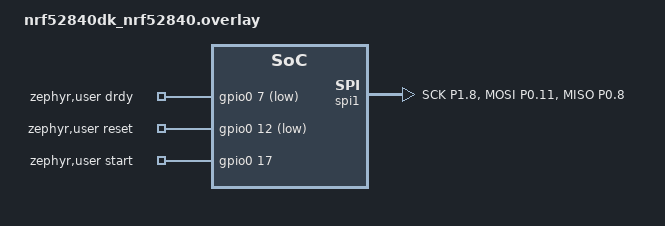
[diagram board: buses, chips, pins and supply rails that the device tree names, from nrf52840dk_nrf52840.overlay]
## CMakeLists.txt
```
#
# Copyright (c) 2018 Nordic Semiconductor
#
# SPDX-License-Identifier: LicenseRef-Nordic-5-Clause
#
cmake_minimum_required(VERSION 3.20.0)

find_package(Zephyr REQUIRED HINTS $ENV{ZEPHYR_BASE})
project(BLE_EEG)

target_sources(app PRIVATE
  src/main.c
  src/ble.c
  src/ads1299.c
)

# NORDIC SDK APP END
```

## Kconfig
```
#
# Copyright (c) 2018 Nordic Semiconductor
#
# SPDX-License-Identifier: LicenseRef-Nordic-5-Clause
#

source "Kconfig.zephyr"

menu "Nordic BLE EEG Service"

config BT_LBS_SECURITY_ENABLED
	bool "Enable security"
	default y
	select BT_SMP
	select BT_SETTINGS
	select FLASH
	select FLASH_PAGE_LAYOUT
	select FLASH_MAP
	select ZMS if (SOC_FLASH_NRF_RRAM || SOC_FLASH_NRF_MRAM)
	select NVS if !(SOC_FLASH_NRF_RRAM || SOC_FLASH_NRF_MRAM)
	select SETTINGS
	help
	  "Enable BLE security for the LED-Button service"

endmenu
```

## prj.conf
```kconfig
# BLE CORE
CONFIG_BT=y
CONFIG_BT_PERIPHERAL=y
CONFIG_BT_DEVICE_NAME="Soft NeuroKit"
CONFIG_BT_MAX_CONN=1

# SETTINGS
CONFIG_BT_SETTINGS=y
CONFIG_SETTINGS=y

# GPIO
CONFIG_GPIO=y

# SPI
CONFIG_SPI=y
CONFIG_NRFX_SPIM=y

# STACK SIZES
CONFIG_MAIN_STACK_SIZE=2048
CONFIG_SYSTEM_WORKQUEUE_STACK_SIZE=2048

# LOGGING
CONFIG_LOG=y
CONFIG_LOG_MODE_IMMEDIATE=y
CONFIG_LOG_DEFAULT_LEVEL=3
CONFIG_LOG_BACKEND_UART=y
CONFIG_PRINTK=y

# Stack size for the main thread, which will be used for the application logic.
CONFIG_MAIN_STACK_SIZE=16384
```

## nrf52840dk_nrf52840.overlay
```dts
#include <zephyr/dt-bindings/pinctrl/nrf-pinctrl.h>
#include <zephyr/dt-bindings/gpio/gpio.h>

/ {
    zephyr,user {
        /*
         * ADS1299 control/status pins.
         *
         * DRDY is active-low from ADS1299.
         * RESET is active-low.
         * START is active-high.
         *
         * Current working wiring:
         *   ADS J3-15 SPI_DRDY  -> nRF P0.07
         *   ADS J3-8  /RESET    -> nRF P0.12
         *   ADS J3-14 SPI_START -> nRF P0.17 or your clean START GPIO
         *
         * IMPORTANT:
         * Use the nRF pin that actually gave START raw=0/1 control.
         * If you used P0.17 successfully, keep P0.17 here.
         */
        drdy-gpios  = <&gpio0 7 GPIO_ACTIVE_LOW>;
        reset-gpios = <&gpio0 12 GPIO_ACTIVE_LOW>;
        start-gpios = <&gpio0 17 GPIO_ACTIVE_HIGH>;
    };
};

&pinctrl {
    spi1_default: spi1_default {
        group1 {
            /*
             * ADS1299 SPI wiring:
             *   ADS J3-3  SPI_CLK -> nRF P1.08 SCK
             *   ADS J3-11 SPI_IN  -> nRF P0.11 MOSI
             *   ADS J3-13 SPI_OUT -> nRF P0.08 MISO
             */
            psels = <
                NRF_PSEL(SPIM_SCK, 1, 8)
                NRF_PSEL(SPIM_MOSI, 0, 11)
                NRF_PSEL(SPIM_MISO, 0, 8)
            >;
        };
    };

    spi1_sleep: spi1_sleep {
        group1 {
            psels = <
                NRF_PSEL(SPIM_SCK, 1, 8)
                NRF_PSEL(SPIM_MOSI, 0, 11)
                NRF_PSEL(SPIM_MISO, 0, 8)
            >;
            low-power-enable;
        };
    };
};

&spi1 {
    compatible = "nordic,nrf-spim";
    status = "okay";

    pinctrl-0 = <&spi1_default>;
    pinctrl-1 = <&spi1_sleep>;
    pinctrl-names = "default", "sleep";

    /*
     * IMPORTANT:
     * On ADS1299 board, CS worked when connected to J3 pin 1.
     * This depends on JP21 routing.
     *
     *   ADS J3-1 SPI_CS -> nRF P1.09
     */
    cs-gpios = <&gpio1 9 GPIO_ACTIVE_LOW>;
};
```

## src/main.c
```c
#include <zephyr/kernel.h>
#include <zephyr/sys/printk.h>

#include <stdint.h>
#include <stddef.h>
#include <math.h>
#include <errno.h>

#include "ads1299.h"
#include "ble.h"

/*
 * ECG acquisition settings.
 */
#define ADS_SAMPLE_RATE_HZ       500
#define ADS_NOTCH_FREQ_HZ        60.0f

/*
 * Print every N samples.
 *
 * Printing every sample at 500 SPS can slow down BLE streaming.
 * Set to 1 for full debug output.
 * Set to 10 or 50 for smoother BLE streaming.
 */
#define PRINT_EVERY_N_SAMPLES    1

/*
 * ADS1299 voltage conversion:
 *
 * voltage = raw_count * VREF / (gain * (2^23 - 1))
 *
 * This ECG bring-up uses gain 6 because gain 24 saturated too easily.
 */
#define ADS_VREF_VOLTS           4.5f
#define ADS_CH3_GAIN             6.0f
#define ADS_24BIT_FULL_SCALE     8388607.0f

/*
 * CHxSET values.
 *
 * 0x00 = gain 6, normal electrode input
 * 0x01 = gain 6, input shorted
 * 0x60 = gain 24, normal electrode input
 * 0x61 = gain 24, input shorted
 * 0x81 = channel powered down, input shorted
 */
#define ADS_CH3_GAIN6_NORMAL_INPUT    0x00
#define ADS_CH_POWERDOWN_SHORTED      0x81

/*
 * ADS1299 frame:
 *
 * 3 status bytes + 8 channels * 3 bytes = 27 bytes
 *
 * CH3 is:
 *   frame[9], frame[10], frame[11]
 */
static uint8_t frame[27];

typedef struct {
    float b0;
    float b1;
    float b2;
    float a1;
    float a2;

    float x1;
    float x2;
    float y1;
    float y2;
} biquad_t;

static biquad_t notch60;

static int32_t sign_extend_24(uint8_t b0, uint8_t b1, uint8_t b2)
{
    int32_t value = ((int32_t)b0 << 16) |
                    ((int32_t)b1 << 8)  |
                    ((int32_t)b2);

    if (value & 0x800000) {
        value |= 0xFF000000;
    }

    return value;
}

static int32_t raw_to_microvolts_int(int32_t raw)
{
    float volts = ((float)raw * ADS_VREF_VOLTS) /
                  (ADS_CH3_GAIN * ADS_24BIT_FULL_SCALE);

    return (int32_t)(volts * 1000000.0f);
}

/*
 * 60 Hz notch filter.
 *
 * fs = 500 Hz
 * f0 = 60 Hz
 * Q = 30 gives a reasonably narrow notch.
 */
static void biquad_notch_init(biquad_t *filt, float fs_hz, float f0_hz, float q)
{
    float w0 = 2.0f * 3.14159265358979323846f * f0_hz / fs_hz;
    float c = cosf(w0);
    float s = sinf(w0);
    float alpha = s / (2.0f * q);

    float b0 = 1.0f;
    float b1 = -2.0f * c;
    float b2 = 1.0f;
    float a0 = 1.0f + alpha;
    float a1 = -2.0f * c;
    float a2 = 1.0f - alpha;

    filt->b0 = b0 / a0;
    filt->b1 = b1 / a0;
    filt->b2 = b2 / a0;
    filt->a1 = a1 / a0;
    filt->a2 = a2 / a0;

    filt->x1 = 0.0f;
    filt->x2 = 0.0f;
    filt->y1 = 0.0f;
    filt->y2 = 0.0f;
}

static int32_t biquad_process_int_uv(biquad_t *filt, int32_t x_int)
{
    float x = (float)x_int;

    float y = filt->b0 * x +
              filt->b1 * filt->x1 +
              filt->b2 * filt->x2 -
              filt->a1 * filt->y1 -
              filt->a2 * filt->y2;

    filt->x2 = filt->x1;
    filt->x1 = x;

    filt->y2 = filt->y1;
    filt->y1 = y;

    return (int32_t)y;
}

/*
 * DRDY is active-low.
 *
 * This tries to wait for a fresh DRDY falling edge.
 * If DRDY stays low on the eval board, the caller falls back to a 2 ms delay,
 * which approximates 500 SPS.
 */
static int wait_for_drdy_falling_edge(int timeout_ms)
{
    int elapsed_us = 0;
    int timeout_us = timeout_ms * 1000;

    /*
     * Wait for DRDY to go high first.
     */
    while (ads1299_get_drdy_raw() == 0) {
        k_usleep(100);
        elapsed_us += 100;

        if (elapsed_us >= timeout_us) {
            return -1;
        }
    }

    /*
     * Then wait for DRDY to go low.
     */
    while (ads1299_get_drdy_raw() == 1) {
        k_usleep(100);
        elapsed_us += 100;

        if (elapsed_us >= timeout_us) {
            return -2;
        }
    }

    return 0;
}

/*
 * Configure ADS1299 for CH3 ECG:
 *
 *   500 SPS
 *   CH3 only
 *   gain 6
 *   normal electrode input
 *   BIAS enabled from CH3P and CH3N
 *   lead-off disabled for bring-up
 *
 * Electrode setup:
 *   CH3P -> left wrist
 *   CH3N -> right wrist
 *   BIAS -> third electrode connected to BIAS on JP25 or GND?
 *
 */
static int configure_ads1299_ch3_ecg_500sps_bias(void)
{
    int err;
    uint8_t check = 0;

    err = ads1299_send_command(ADS_CMD_SDATAC);
    if (err) {
        printk("SDATAC failed: %d\n", err);
        return err;
    }

    k_msleep(5);

    /*
     * CONFIG1 = 0x95 sets 500 SPS.
     */
    err = ads1299_write_reg(ADS_REG_CONFIG1, 0x95);
    if (err) {
        printk("CONFIG1 write failed: %d\n", err);
        return err;
    }

    /*
     * Power down unused channels.
     */
    err = ads1299_write_reg(ADS_REG_CH1SET, ADS_CH_POWERDOWN_SHORTED);
    if (err) return err;

    err = ads1299_write_reg(ADS_REG_CH2SET, ADS_CH_POWERDOWN_SHORTED);
    if (err) return err;

    /*
     * CH3 active, gain 6, normal electrode input.
     */
    err = ads1299_write_reg(ADS_REG_CH3SET, ADS_CH3_GAIN6_NORMAL_INPUT);
    if (err) return err;

    err = ads1299_write_reg(ADS_REG_CH4SET, ADS_CH_POWERDOWN_SHORTED);
    if (err) return err;

    err = ads1299_write_reg(ADS_REG_CH5SET, ADS_CH_POWERDOWN_SHORTED);
    if (err) return err;

    err = ads1299_write_reg(ADS_REG_CH6SET, ADS_CH_POWERDOWN_SHORTED);
    if (err) return err;

    err = ads1299_write_reg(ADS_REG_CH7SET, ADS_CH_POWERDOWN_SHORTED);
    if (err) return err;

    err = ads1299_write_reg(ADS_REG_CH8SET, ADS_CH_POWERDOWN_SHORTED);
    if (err) return err;

    /*
     * Disable lead-off during early testing.
     */
    ads1299_write_reg(ADS_REG_LOFF,       0x00);
    ads1299_write_reg(ADS_REG_LOFF_SENSP, 0x00);
    ads1299_write_reg(ADS_REG_LOFF_SENSN, 0x00);
    ads1299_write_reg(ADS_REG_LOFF_FLIP,  0x00);

    /*
     * Enable BIAS sensing from CH3P and CH3N.
     *
     * Bit 2 corresponds to channel 3.
     */
    ads1299_write_reg(ADS_REG_BIAS_SENSP, 0x04);
    ads1299_write_reg(ADS_REG_BIAS_SENSN, 0x04);

    /*
     * Keep SRB/common-reference routing disabled for this simple differential test.
     */
    ads1299_write_reg(ADS_REG_MISC1, 0x00);

    /*
     * Verify key settings.
     */
    ads1299_read_reg(ADS_REG_CONFIG1, &check);
    printk("CONFIG1 after 500SPS write = 0x%02X\n", check);

    ads1299_read_reg(ADS_REG_CH3SET, &check);
    printk("CH3SET = 0x%02X\n", check);

    ads1299_read_reg(ADS_REG_BIAS_SENSP, &check);
    printk("BIAS_SENSP = 0x%02X\n", check);

    ads1299_read_reg(ADS_REG_BIAS_SENSN, &check);
    printk("BIAS_SENSN = 0x%02X\n", check);

    ads1299_read_reg(ADS_REG_LOFF, &check);
    printk("LOFF = 0x%02X\n", check);

    return 0;
}

/*
 * Read one CH3 sample.
 *
 * Output:
 *   ch3_raw_out         = signed 24-bit ADS1299 ADC count
 *   ch3_filtered_uv_out = CH3 converted to microvolts after 60 Hz notch
 */
static int read_ch3_sample(int32_t *ch3_raw_out, int32_t *ch3_filtered_uv_out)
{
    int err;

    if (ch3_raw_out == NULL || ch3_filtered_uv_out == NULL) {
        return -EINVAL;
    }

    err = wait_for_drdy_falling_edge(1000);

    if (err) {
        /*
         * Fallback timing:
         * 2 ms approximates 500 SPS.
         */
        k_msleep(2);
    }

    err = ads1299_read_data_frame(frame, sizeof(frame));
    if (err) {
        return err;
    }

    /*
     * CH3 is bytes 9, 10, 11 in the 27-byte ADS1299 frame.
     */
    int32_t ch3_raw = sign_extend_24(frame[9], frame[10], frame[11]);
    int32_t ch3_uv = raw_to_microvolts_int(ch3_raw);
    int32_t ch3_notched_uv = biquad_process_int_uv(&notch60, ch3_uv);

    *ch3_raw_out = ch3_raw;
    *ch3_filtered_uv_out = ch3_notched_uv;

    return 0;
}

static int start_ads_streaming(void)
{
    int err;

    printk("Starting ADS1299 CH3 ECG streaming...\n");

    /*
     * Reset filter state each time streaming starts.
     */
    biquad_notch_init(&notch60,
                      (float)ADS_SAMPLE_RATE_HZ,
                      ADS_NOTCH_FREQ_HZ,
                      30.0f);

    err = configure_ads1299_ch3_ecg_500sps_bias();
    if (err) {
        printk("ADS1299 ECG config failed: %d\n", err);
        return err;
    }

    err = ads1299_start_conversions();
    if (err) {
        printk("ADS1299 start conversions failed: %d\n", err);
        return err;
    }

    /*
     * Discard first few frames after START/RDATAC.
     */
    for (int i = 0; i < 5; i++) {
        int32_t dummy_raw = 0;
        int32_t dummy_uv = 0;
        read_ch3_sample(&dummy_raw, &dummy_uv);
    }

    printk("ADS streaming started\n");
    return 0;
}

static void stop_ads_streaming(void)
{
    printk("Stopping ADS1299 streaming...\n");
    ads1299_stop_conversions();
    printk("ADS streaming stopped\n");
}

int main(void)
{
    int err;
    bool streaming = false;
    uint32_t sample_counter = 0;

    uint8_t id = 0;
    uint8_t config1 = 0;
    uint8_t config2 = 0;
    uint8_t config3 = 0;

    printk("Soft NeuroKit ADS1299 + BLE ECG START/STOP APP\n");

    /*
     * Initialize ADS1299 first.
     */
    err = ads1299_init();
    if (err) {
        printk("ads1299_init failed: %d\n", err);
        return 0;
    }

    /*
     * Confirm ADS1299 communication.
     *
     * Expected baseline for current working SPI mode:
     *   ID      = 0x3E
     *   CONFIG1 = 0x96
     *   CONFIG2 = 0xC0
     *   CONFIG3 = 0x60
     */
    ads1299_read_id(&id);
    ads1299_read_reg(ADS_REG_CONFIG1, &config1);
    ads1299_read_reg(ADS_REG_CONFIG2, &config2);
    ads1299_read_reg(ADS_REG_CONFIG3, &config3);

    printk("ADS baseline: ID=0x%02X CONFIG1=0x%02X CONFIG2=0x%02X CONFIG3=0x%02X\n",
           id, config1, config2, config3);

    /*
     * Initialize BLE.
     *
     * Mobile app enables notifications to start streaming.
     */
    err = ble_init();
    if (err) {
        printk("ble_init failed: %d\n", err);
        return 0;
    }

    printk("Ready. Enable BLE notifications to START ECG streaming.\n");
    printk("Disable BLE notifications or disconnect to STOP streaming.\n");

    while (1) {
        /*
         * START command from BLE notification enable.
         */
        if (ble_start_requested()) {
            ble_clear_start_request();
            ble_clear_stop_request();

            if (!streaming) {
                err = start_ads_streaming();
                if (!err) {
                    streaming = true;
                    sample_counter = 0;
                }
            }
        }

        /*
         * STOP command from BLE notification disable or disconnect.
         */
        if (ble_stop_requested()) {
            ble_clear_stop_request();

            if (streaming) {
                stop_ads_streaming();
                streaming = false;
            }
        }

        /*
         * If connected and notifications are enabled, stream CH3.
         */
        if (streaming && ble_is_connected() && ble_notifications_enabled()) {
            int32_t ch3_raw = 0;
            int32_t ch3_uv = 0;

            err = read_ch3_sample(&ch3_raw, &ch3_uv);
            if (err) {
                printk("CH3 read failed: %d\n", err);
                k_msleep(10);
                continue;
            }

            /*
             * Print ADS1299 CH3 signal to terminal.
             *
             * raw         = signed 24-bit ADS1299 ADC count
             * filtered_uV = microvolts after conversion + 60 Hz notch
             */
            if ((sample_counter % PRINT_EVERY_N_SAMPLES) == 0) {
                printk("ADS CH3 sample=%u raw=%d filtered_uV=%d\n",
                       sample_counter,
                       ch3_raw,
                       ch3_uv);
            }

            sample_counter++;

            /*
             * Current BLE payload format expects CH3 + CH4.
             *
             * We only use CH3 right now:
             *   CH3 = filtered microvolts
             *   CH4 = 0
             */
            err = ble_send_ch34(ch3_uv, 0);

            /*
             * BLE may return -EAGAIN/-ENOMEM if the controller is busy.
             * Do not stop streaming for transient notify failures.
             */
            if (err && err != -EAGAIN && err != -ENOMEM) {
                printk("BLE notify failed: %d\n", err);
            }
        } else {
            /*
             * Idle while waiting for BLE command.
             */
            k_msleep(20);
        }
    }

    return 0;
}
```

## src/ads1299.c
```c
#include "ads1299.h"

#include <errno.h>
#include <stddef.h>

#include <zephyr/kernel.h>
#include <zephyr/sys/printk.h>
#include <zephyr/drivers/spi.h>
#include <zephyr/drivers/gpio.h>
#include <zephyr/device.h>
#include <zephyr/devicetree.h>

#define SPI1_NODE DT_NODELABEL(spi1)
#define USER_NODE DT_PATH(zephyr_user)

static const struct device *spi_dev = DEVICE_DT_GET(SPI1_NODE);

static const struct gpio_dt_spec reset_gpio =
    GPIO_DT_SPEC_GET(USER_NODE, reset_gpios);

static const struct gpio_dt_spec drdy_gpio =
    GPIO_DT_SPEC_GET(USER_NODE, drdy_gpios);

static const struct gpio_dt_spec start_gpio =
    GPIO_DT_SPEC_GET(USER_NODE, start_gpios);

static const struct gpio_dt_spec cs_gpio =
    GPIO_DT_SPEC_GET_BY_IDX(SPI1_NODE, cs_gpios, 0);

/*
 * ADS1299 SPI configuration.
 *
 * This is the mode that produced the correct baseline on your setup:
 *   ID      = 0x3E
 *   CONFIG1 = 0x96
 *   CONFIG2 = 0xC0
 *   CONFIG3 = 0x60
 *
 * If the readback appears shifted, the SPI mode is likely wrong.
 */
static const struct spi_config spi_cfg = {
    .frequency = 125000,
    .operation = SPI_WORD_SET(8) | SPI_TRANSFER_MSB | SPI_MODE_CPHA,
    .slave = 0,
};

/*
 * Raw GPIO control is used intentionally.
 *
 * RESETB is active-low:
 *   assert reset  = 0
 *   release reset = 1
 *
 * START is active-high:
 *   stop conversions/start low = 0
 *   start conversions          = 1
 *
 * CS is active-low:
 *   select ADS   = 0
 *   deselect ADS = 1
 */
static int ads_reset_assert(void)
{
    return gpio_pin_set_raw(reset_gpio.port, reset_gpio.pin, 0);
}

static int ads_reset_release(void)
{
    return gpio_pin_set_raw(reset_gpio.port, reset_gpio.pin, 1);
}

static int ads_start_low(void)
{
    return gpio_pin_set_raw(start_gpio.port, start_gpio.pin, 0);
}

static int ads_start_high(void)
{
    return gpio_pin_set_raw(start_gpio.port, start_gpio.pin, 1);
}

static int ads_cs_low(void)
{
    return gpio_pin_set_raw(cs_gpio.port, cs_gpio.pin, 0);
}

static int ads_cs_high(void)
{
    return gpio_pin_set_raw(cs_gpio.port, cs_gpio.pin, 1);
}

static void ads1299_print_pin_states(const char *label)
{
    printk("%s\n", label);

    printk("RESET raw=%d\n",
           gpio_pin_get_raw(reset_gpio.port, reset_gpio.pin));

    printk("START raw=%d\n",
           gpio_pin_get_raw(start_gpio.port, start_gpio.pin));

    printk("CS    raw=%d\n",
           gpio_pin_get_raw(cs_gpio.port, cs_gpio.pin));

    printk("DRDY  raw=%d\n",
           gpio_pin_get_raw(drdy_gpio.port, drdy_gpio.pin));
}

static int ads_spi_transceive(uint8_t *tx, uint8_t *rx, size_t len)
{
    int err;

    struct spi_buf tx_buf = {
        .buf = tx,
        .len = len,
    };

    struct spi_buf rx_buf = {
        .buf = rx,
        .len = len,
    };

    struct spi_buf_set tx_set = {
        .buffers = &tx_buf,
        .count = 1,
    };

    struct spi_buf_set rx_set = {
        .buffers = &rx_buf,
        .count = 1,
    };

    err = ads_cs_low();
    if (err) {
        printk("CS low failed: %d\n", err);
        return err;
    }

    k_busy_wait(10);

    err = spi_transceive(spi_dev, &spi_cfg, &tx_set, &rx_set);

    k_busy_wait(10);

    ads_cs_high();

    if (err) {
        printk("spi_transceive failed: %d\n", err);
    }

    return err;
}

int ads1299_send_command(uint8_t cmd)
{
    uint8_t tx[1] = { cmd };
    uint8_t rx[1] = { 0 };
    int err;

    err = ads_spi_transceive(tx, rx, sizeof(tx));
    if (err) {
        printk("Command 0x%02X failed: %d\n", cmd, err);
        return err;
    }

    k_msleep(2);
    return 0;
}

int ads1299_read_reg(uint8_t reg, uint8_t *value)
{
    int err;

    if (value == NULL) {
        return -EINVAL;
    }

    /*
     * RREG command:
     *   byte 0 = 0x20 | register address
     *   byte 1 = number of registers minus 1
     *   byte 2 = dummy byte to clock out register value
     */
    uint8_t tx[3] = {
        (uint8_t)(ADS_CMD_RREG | (reg & 0x1F)),
        0x00,
        0x00
    };

    uint8_t rx[3] = { 0 };

    err = ads_spi_transceive(tx, rx, sizeof(tx));
    if (err) {
        printk("RREG 0x%02X failed: %d\n", reg, err);
        return err;
    }

    *value = rx[2];

    printk("RREG reg=0x%02X value=0x%02X\n", reg, *value);

    return 0;
}

int ads1299_write_reg(uint8_t reg, uint8_t value)
{
    int err;

    /*
     * WREG command:
     *   byte 0 = 0x40 | register address
     *   byte 1 = number of registers minus 1
     *   byte 2 = value to write
     */
    uint8_t tx[3] = {
        (uint8_t)(ADS_CMD_WREG | (reg & 0x1F)),
        0x00,
        value
    };

    uint8_t rx[3] = { 0 };

    err = ads_spi_transceive(tx, rx, sizeof(tx));
    if (err) {
        printk("WREG 0x%02X failed: %d\n", reg, err);
        return err;
    }

    printk("WREG reg=0x%02X value=0x%02X\n", reg, value);

    k_msleep(2);
    return 0;
}

int ads1299_read_id(uint8_t *id)
{
    return ads1299_read_reg(ADS_REG_ID, id);
}

int ads1299_get_drdy_raw(void)
{
    return gpio_pin_get_raw(drdy_gpio.port, drdy_gpio.pin);
}

int ads1299_start_conversions(void)
{
    int err;

    /*
     * START pin high enables conversion start.
     * Then START command and RDATAC put ADS1299 into continuous data output mode.
     */
    err = ads_start_high();
    if (err) {
        printk("START high failed: %d\n", err);
        return err;
    }

    k_msleep(2);

    err = ads1299_send_command(ADS_CMD_START);
    if (err) {
        return err;
    }

    k_msleep(2);

    err = ads1299_send_command(ADS_CMD_RDATAC);
    if (err) {
        return err;
    }

    printk("ADS1299 conversions started\n");
    return 0;
}

int ads1299_stop_conversions(void)
{
    int err;

    err = ads1299_send_command(ADS_CMD_SDATAC);
    if (err) {
        return err;
    }

    k_msleep(2);

    err = ads1299_send_command(ADS_CMD_STOP);
    if (err) {
        return err;
    }

    k_msleep(2);

    err = ads_start_low();
    if (err) {
        printk("START low failed: %d\n", err);
        return err;
    }

    printk("ADS1299 conversions stopped\n");
    return 0;
}

int ads1299_read_data_frame(uint8_t *data, size_t len)
{
    int err;

    if (data == NULL || len != 27) {
        return -EINVAL;
    }

    /*
     * ADS1299 RDATAC frame:
     *   3 status bytes + 8 channels * 3 bytes = 27 bytes
     *
     * Even if only CH3 is used, the ADS1299 still outputs the full frame.
     */
    uint8_t tx[27] = { 0 };

    struct spi_buf tx_buf = {
        .buf = tx,
        .len = sizeof(tx),
    };

    struct spi_buf rx_buf = {
        .buf = data,
        .len = len,
    };

    struct spi_buf_set tx_set = {
        .buffers = &tx_buf,
        .count = 1,
    };

    struct spi_buf_set rx_set = {
        .buffers = &rx_buf,
        .count = 1,
    };

    err = ads_cs_low();
    if (err) {
        printk("CS low failed during data frame read: %d\n", err);
        return err;
    }

    k_busy_wait(10);

    err = spi_transceive(spi_dev, &spi_cfg, &tx_set, &rx_set);

    k_busy_wait(10);

    ads_cs_high();

    if (err) {
        printk("Data frame read failed: %d\n", err);
        return err;
    }

    return 0;
}

int ads1299_init(void)
{
    int err;

    if (!device_is_ready(spi_dev)) {
        printk("SPI device not ready\n");
        return -ENODEV;
    }

    if (!gpio_is_ready_dt(&reset_gpio) ||
        !gpio_is_ready_dt(&drdy_gpio)  ||
        !gpio_is_ready_dt(&start_gpio) ||
        !gpio_is_ready_dt(&cs_gpio)) {
        printk("One or more GPIO devices not ready\n");
        return -ENODEV;
    }

    /*
     * OUTPUT | INPUT is used during bring-up/debug so raw pin state can be read.
     */
    err = gpio_pin_configure(reset_gpio.port,
                             reset_gpio.pin,
                             GPIO_OUTPUT | GPIO_INPUT);
    if (err) {
        printk("RESET configure failed: %d\n", err);
        return err;
    }

    err = gpio_pin_configure(start_gpio.port,
                             start_gpio.pin,
                             GPIO_OUTPUT | GPIO_INPUT);
    if (err) {
        printk("START configure failed: %d\n", err);
        return err;
    }

    err = gpio_pin_configure(cs_gpio.port,
                             cs_gpio.pin,
                             GPIO_OUTPUT | GPIO_INPUT);
    if (err) {
        printk("CS configure failed: %d\n", err);
        return err;
    }

    err = gpio_pin_configure(drdy_gpio.port,
                             drdy_gpio.pin,
                             GPIO_INPUT);
    if (err) {
        printk("DRDY configure failed: %d\n", err);
        return err;
    }

    /*
     * Safe idle state:
     *   RESETB high = released from reset
     *   START low   = conversions stopped
     *   CS high     = SPI deselected
     */
    ads_reset_release();
    ads_start_low();
    ads_cs_high();

    k_msleep(20);

    ads1299_print_pin_states("ADS1299 idle before reset:");

    /*
     * Hardware reset pulse.
     */
    ads_reset_assert();
    k_msleep(10);

    ads_reset_release();
    k_msleep(100);

    ads1299_print_pin_states("ADS1299 after hardware reset:");

    /*
     * Software reset and stop continuous data mode before register writes.
     */
    err = ads1299_send_command(ADS_CMD_RESET);
    if (err) {
        return err;
    }

    k_msleep(20);

    err = ads1299_send_command(ADS_CMD_SDATAC);
    if (err) {
        return err;
    }

    k_msleep(20);

    ads1299_print_pin_states("ADS1299 init complete:");

    return 0;
}
```

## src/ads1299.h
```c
#ifndef ADS1299_H
#define ADS1299_H

#include <stdint.h>
#include <stddef.h>

/* ADS1299 commands */
#define ADS_CMD_WAKEUP   0x02
#define ADS_CMD_STANDBY  0x04
#define ADS_CMD_RESET    0x06
#define ADS_CMD_START    0x08
#define ADS_CMD_STOP     0x0A
#define ADS_CMD_RDATAC   0x10
#define ADS_CMD_SDATAC   0x11
#define ADS_CMD_RDATA    0x12
#define ADS_CMD_RREG     0x20
#define ADS_CMD_WREG     0x40

/* ADS1299 registers */
#define ADS_REG_ID       0x00
#define ADS_REG_CONFIG1  0x01
#define ADS_REG_CONFIG2  0x02
#define ADS_REG_CONFIG3  0x03
#define ADS_REG_LOFF     0x04

// EEG channels
#define ADS_REG_CH1SET   0x05
#define ADS_REG_CH2SET   0x06
#define ADS_REG_CH3SET   0x07
#define ADS_REG_CH4SET   0x08
#define ADS_REG_CH5SET   0x09
#define ADS_REG_CH6SET   0x0A
#define ADS_REG_CH7SET   0x0B
#define ADS_REG_CH8SET   0x0C


//bias
#define ADS_REG_BIAS_SENSP  0x0D
#define ADS_REG_BIAS_SENSN  0x0E
#define ADS_REG_LOFF_SENSP  0x0F
#define ADS_REG_LOFF_SENSN  0x10
#define ADS_REG_LOFF_FLIP   0x11
#define ADS_REG_MISC1       0x15

int ads1299_init(void);

int ads1299_send_command(uint8_t cmd);
int ads1299_read_reg(uint8_t reg, uint8_t *value);
int ads1299_write_reg(uint8_t reg, uint8_t value);
int ads1299_read_id(uint8_t *id);

int ads1299_get_drdy_raw(void);

int ads1299_start_conversions(void);
int ads1299_stop_conversions(void);

int ads1299_read_data_frame(uint8_t *data, size_t len);

#endif
```

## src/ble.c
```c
#include "ble.h"

#include <errno.h>

#include <zephyr/kernel.h>
#include <zephyr/sys/printk.h>
#include <zephyr/sys/byteorder.h>

#include <zephyr/bluetooth/bluetooth.h>
#include <zephyr/bluetooth/conn.h>
#include <zephyr/bluetooth/gatt.h>
#include <zephyr/settings/settings.h>

/*
 * Current BLE connection.
 */
static struct bt_conn *current_conn;
static bool notify_enabled;

/*
 * These flags are set from the CCC callback and handled in main.c.
 */
static volatile bool start_req;
static volatile bool stop_req;

/*
 * Advertising data.
 *
 * CONFIG_BT_DEVICE_NAME is set in prj.conf.
 */
static const struct bt_data ad[] = {
    BT_DATA_BYTES(BT_DATA_FLAGS, (BT_LE_AD_GENERAL | BT_LE_AD_NO_BREDR)),
    BT_DATA(BT_DATA_NAME_COMPLETE,
            CONFIG_BT_DEVICE_NAME,
            sizeof(CONFIG_BT_DEVICE_NAME) - 1),
};

static int start_advertising(void)
{
    int err;

    err = bt_le_adv_start(BT_LE_ADV_CONN_FAST_1, ad, ARRAY_SIZE(ad), NULL, 0);

    if (err == -EALREADY) {
        printk("Advertising already running\n");
        return 0;
    }

    if (err) {
        printk("Advertising failed: %d\n", err);
        return err;
    }

    printk("Advertising started\n");
    return 0;
}

/*
 * Public request flag helpers.
 */
bool ble_start_requested(void)
{
    return start_req;
}

bool ble_stop_requested(void)
{
    return stop_req;
}

void ble_clear_start_request(void)
{
    start_req = false;
}

void ble_clear_stop_request(void)
{
    stop_req = false;
}

/*
 * CCC callback.
 *
 * The mobile app controls acquisition by enabling/disabling notifications:
 *
 * Enable notifications  -> request ADS START
 * Disable notifications -> request ADS STOP
 */
static void ccc_cfg_changed(const struct bt_gatt_attr *attr, uint16_t value)
{
    ARG_UNUSED(attr);

    bool new_state = (value == BT_GATT_CCC_NOTIFY);

    if (new_state && !notify_enabled) {
        start_req = true;
        printk("\nNotifications enabled -> request ADS START\n");
    } else if (!new_state && notify_enabled) {
        stop_req = true;
        printk("\nNotifications disabled -> request ADS STOP\n");
    }

    notify_enabled = new_state;
}

/*
 * Custom EEG/ECG GATT service.
 *
 * Characteristic payload:
 *   8 bytes total
 *   bytes 0..3 = CH3 value, signed int32, big-endian
 *   bytes 4..7 = CH4 value, signed int32, big-endian
 *
 * For current CH3-only ECG:
 *   CH3 = filtered CH3 microvolts
 *   CH4 = 0
 */
BT_GATT_SERVICE_DEFINE(eeg_svc,
    BT_GATT_PRIMARY_SERVICE(BT_UUID_DECLARE_128(
        0x12, 0x34, 0x56, 0x78, 0x9a, 0xbc, 0xde, 0xf0,
        0x12, 0x34, 0x56, 0x78, 0x9a, 0xbc, 0xde, 0xf1)),

    BT_GATT_CHARACTERISTIC(BT_UUID_DECLARE_128(
        0x12, 0x34, 0x56, 0x78, 0x9a, 0xbc, 0xde, 0xf0,
        0x12, 0x34, 0x56, 0x78, 0x9a, 0xbc, 0xde, 0xf2),
        BT_GATT_CHRC_NOTIFY,
        BT_GATT_PERM_NONE,
        NULL, NULL, NULL),

    BT_GATT_CCC(ccc_cfg_changed,
        BT_GATT_PERM_READ | BT_GATT_PERM_WRITE)
);

/*
 * Connection callbacks.
 */
static void connected(struct bt_conn *conn, uint8_t err)
{
    if (err) {
        printk("Connection failed, err=%u\n", err);
        return;
    }

    if (current_conn) {
        bt_conn_unref(current_conn);
    }

    current_conn = bt_conn_ref(conn);

    printk("Connected\n");
}

static void disconnected(struct bt_conn *conn, uint8_t reason)
{
    ARG_UNUSED(conn);

    printk("Disconnected, reason=%u\n", reason);

    if (current_conn) {
        bt_conn_unref(current_conn);
        current_conn = NULL;
    }

    notify_enabled = false;

    /*
     * If the app disconnects while streaming, stop ADS acquisition.
     */
    stop_req = true;
}

/*
 * After a connection object is recycled, advertising can safely restart.
 */
static void recycled(void)
{
    printk("Connection object recycled\n");
    start_advertising();
}

BT_CONN_CB_DEFINE(conn_callbacks) = {
    .connected = connected,
    .disconnected = disconnected,
    .recycled = recycled,
};

int ble_init(void)
{
    int err;

    err = bt_enable(NULL);
    if (err) {
        printk("Bluetooth init failed: %d\n", err);
        return err;
    }

    printk("Bluetooth ready\n");

    if (IS_ENABLED(CONFIG_SETTINGS)) {
        settings_load();
    }

    return start_advertising();
}

bool ble_is_connected(void)
{
    return current_conn != NULL;
}

bool ble_notifications_enabled(void)
{
    return notify_enabled;
}

int ble_send_ch34(int32_t ch3, int32_t ch4)
{
    uint8_t data[8];

    if (!current_conn) {
        return -ENOTCONN;
    }

    if (!notify_enabled) {
        return -EACCES;
    }

    /*
     * eeg_svc.attrs[2] is the characteristic value attribute.
     */
    if (!bt_gatt_is_subscribed(current_conn,
                               &eeg_svc.attrs[2],
                               BT_GATT_CCC_NOTIFY)) {
        return -EACCES;
    }

    /*
     * Send signed int32 values as big-endian.
     *
     * Mobile app should decode:
     *   CH3 = signed 32-bit int from bytes 0..3
     *   CH4 = signed 32-bit int from bytes 4..7
     */
    sys_put_be32((uint32_t)ch3, &data[0]);
    sys_put_be32((uint32_t)ch4, &data[4]);

    return bt_gatt_notify(current_conn,
                          &eeg_svc.attrs[2],
                          data,
                          sizeof(data));
}
```

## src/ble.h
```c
#ifndef BLE_H
#define BLE_H

#include <stdint.h>
#include <stdbool.h>

int ble_init(void);
bool ble_is_connected(void);
bool ble_notifications_enabled(void);
int ble_send_ch34(int32_t ch3, int32_t ch4);

/*
 * Notification state is used as the app's START/STOP command:
 *
 * Enable notifications  -> start_req = true
 * Disable notifications -> stop_req = true
 */
bool ble_start_requested(void);
bool ble_stop_requested(void);
void ble_clear_start_request(void);
void ble_clear_stop_request(void);

#endif
```
